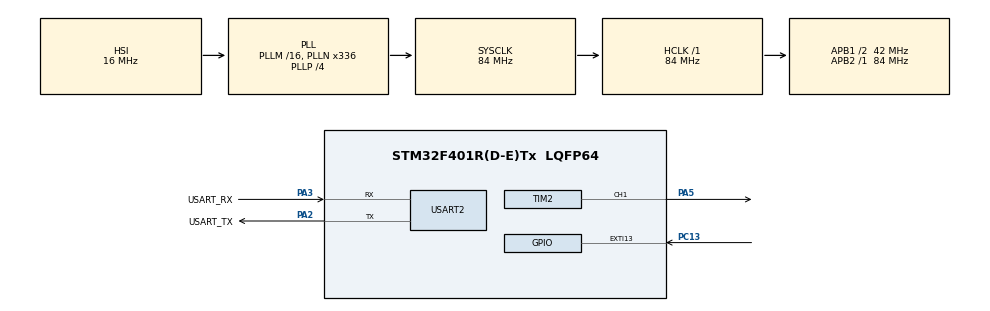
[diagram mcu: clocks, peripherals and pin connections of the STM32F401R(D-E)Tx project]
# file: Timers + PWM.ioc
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Mcu.Family=STM32F4
Mcu.Name=STM32F401R(D-E)Tx
Mcu.Package=LQFP64
NVIC.EXTI15_10_IRQn=true\:0\:0\:false\:false\:true\:true\:true\:true
NVIC.PriorityGroup=NVIC_PRIORITYGROUP_4
NVIC.USART2_IRQn=true\:0\:0\:false\:false\:true\:true\:true\:true
PA13.GPIO_Label=TMS
PA13.Mode=Trace_Asynchronous_SW
PA13.Signal=SYS_JTMS-SWDIO
PA14.GPIO_Label=TCK
PA14.Mode=Trace_Asynchronous_SW
PA14.Signal=SYS_JTCK-SWCLK
PA2.GPIO_Label=USART_TX
PA2.GPIO_Mode=GPIO_MODE_AF_PP
PA2.GPIO_PuPd=GPIO_NOPULL
PA2.GPIO_Speed=GPIO_SPEED_FREQ_LOW
PA2.Mode=Asynchronous
PA2.Signal=USART2_TX
PA3.GPIO_Label=USART_RX
PA3.GPIO_Mode=GPIO_MODE_AF_PP
PA3.GPIO_PuPd=GPIO_NOPULL
PA3.GPIO_Speed=GPIO_SPEED_FREQ_LOW
PA3.Mode=Asynchronous
PA3.Signal=USART2_RX
PA5.Signal=S_TIM2_CH1_ETR
PB3.GPIO_Label=SWO
PB3.Mode=Trace_Asynchronous_SW
PB3.Signal=SYS_JTDO-SWO
PC13-ANTI_TAMP.GPIO_ModeDefaultEXTI=GPIO_MODE_IT_FALLING
PC13-ANTI_TAMP.Signal=GPXTI13
PC14-OSC32_IN.Mode=LSE-External-Oscillator
PC14-OSC32_IN.Signal=RCC_OSC32_IN
PC15-OSC32_OUT.Mode=LSE-External-Oscillator
PC15-OSC32_OUT.Signal=RCC_OSC32_OUT
PH0\ -\ OSC_IN.Mode=HSE-External-Clock-Source
PH0\ -\ OSC_IN.Signal=RCC_OSC_IN
PH1\ -\ OSC_OUT.Mode=HSE-External-Clock-Source
PH1\ -\ OSC_OUT.Signal=RCC_OSC_OUT
ProjectManager.HeapSize=0x200
ProjectManager.StackSize=0x400
ProjectManager.TargetToolchain=STM32CubeIDE
RCC.48MHZClocksFreq_Value=48000000
RCC.AHBFreq_Value=84000000
RCC.APB1CLKDivider=RCC_HCLK_DIV2
RCC.APB1Freq_Value=42000000
RCC.APB1TimFreq_Value=84000000
RCC.APB2Freq_Value=84000000
RCC.APB2TimFreq_Value=84000000
RCC.CortexFreq_Value=84000000
RCC.HCLKFreq_Value=84000000
RCC.HSE_VALUE=8000000
RCC.HSI_VALUE=16000000
RCC.PLLN=336
RCC.PLLP=RCC_PLLP_DIV4
RCC.PLLQ=7
RCC.SYSCLKFreq_VALUE=84000000
RCC.SYSCLKSource=RCC_SYSCLKSOURCE_PLLCLK
RCC.VCOOutputFreq_Value=336000000
SH.S_TIM2_CH1_ETR.0=TIM2_CH1,PWM Generation1 CH1
TIM2.Channel-PWM\ Generation1\ CH1=TIM_CHANNEL_1
TIM2.Period=999
TIM2.Prescaler=83
TIM2.Pulse-PWM\ Generation1\ CH1=500
USART2.VirtualMode=VM_ASYNC
VP_TIM2_VS_ClockSourceINT.Mode=Internal
board=NUCLEO-F401RE

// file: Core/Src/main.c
/* USER CODE BEGIN Header */
/**
  ******************************************************************************
  * @file           : main.c
  * @brief          : Main program body
  ******************************************************************************
  * @attention
  *
  * Copyright (c) 2026 STMicroelectronics.
  * All rights reserved.
  *
  * This software is licensed under terms that can be found in the LICENSE file
  * in the root directory of this software component.
  * If no LICENSE file comes with this software, it is provided AS-IS.
  *
  ******************************************************************************
  */
/* USER CODE END Header */
#include "main.h"

/* USER CODE BEGIN Includes */
#include <stdio.h>
#include <string.h>
#include <stdlib.h>
/* USER CODE END Includes */

/* USER CODE BEGIN PTD */
typedef enum {
    LED_OFF,
    LED_ON,
    LED_MANUAL,   // exact duty set via DUTY <value>
    LED_BLINK,    // period controlled by led_timer.period_ms
    LED_FADE
} LedMode;

volatile LedMode led_mode = LED_OFF;
volatile uint16_t manual_duty = 0;   // used only when led_mode == LED_MANUAL
// Non-blocking timer pattern — the most important pattern in bare-metal embedded
typedef struct {
    uint32_t last_tick;
    uint32_t period_ms;
    uint8_t  enabled;
} SoftTimer;

// Check if timer has expired — non-blocking
uint8_t timer_expired(SoftTimer *t) {
    if (!t->enabled) return 0;
    if ((HAL_GetTick() - t->last_tick) >= t->period_ms) {
        t->last_tick = HAL_GetTick();
        return 1;
    }
    return 0;
}
/* USER CODE END PTD */

TIM_HandleTypeDef htim2;

UART_HandleTypeDef huart2;

/* USER CODE BEGIN PV */
/* Global variables */
uint8_t rx_byte;
char rx_buffer[64];
uint8_t rx_index = 0;
volatile uint8_t cmd_ready = 0;
volatile uint8_t button_flag = 0;
volatile uint32_t button_press_count = 0;
volatile uint32_t last_button_time = 0;
volatile uint8_t led_state = 0;
uint16_t duty = 0;
int8_t   direction = 1;      // 1 = increasing, -1 = decreasing
uint8_t  fade_enabled = 1;
volatile uint8_t auto_status_enabled = 1;   // on by default, matches current behavior

/* Software timers — global so process_command() can access them */
SoftTimer led_timer     = {0, 500,  1};
SoftTimer status_timer  = {0, 3000, 1};
SoftTimer counter_timer = {0, 1000, 1};
SoftTimer fade_timer = {0, 10, 1};  // update every 10ms
/* USER CODE END PV */

void SystemClock_Config(void);
static void MX_GPIO_Init(void);
static void MX_TIM2_Init(void);
static void MX_USART2_UART_Init(void);

/* USER CODE BEGIN 0 */
//UART Receive Callback
void HAL_UART_RxCpltCallback(UART_HandleTypeDef *huart)
{
    if (huart->Instance == USART2)
    {
        uint8_t received = rx_byte;

        // Re-arm FIRST
        HAL_UART_Receive_IT(&huart2, &rx_byte, 1);

        // NO unconditional echo here anymore

        if (received == '\r')
        {
            rx_buffer[rx_index] = '\0';

            if (rx_index > 0)
            {
                cmd_ready = 1;
            }

            rx_index = 0;

            // Move to new line
            while (!(USART2->SR & USART_SR_TXE));
            USART2->DR = '\r';
            while (!(USART2->SR & USART_SR_TXE));
            USART2->DR = '\n';
        }
        else if (received == '\n')
        {
            // Ignore
        }
        else if (received == '\b' || received == 0x7F)
        {
            if (rx_index > 0)
            {
                rx_index--;
                rx_buffer[rx_index] = '\0';

                // Erase on terminal — no echo of \b or 0x7F itself
                while (!(USART2->SR & USART_SR_TXE));
                USART2->DR = '\b';
                while (!(USART2->SR & USART_SR_TXE));
                USART2->DR = ' ';
                while (!(USART2->SR & USART_SR_TXE));
                USART2->DR = '\b';
            }
            // If rx_index == 0, do nothing — already at start of line
        }
        else if (received >= 0x20 && received <= 0x7E)
        {
            // Only echo printable ASCII characters
            while (!(USART2->SR & USART_SR_TXE));
            USART2->DR = received;

            if (rx_index < sizeof(rx_buffer) - 1)
            {
                rx_buffer[rx_index++] = received;
            }
            else
            {
                // Buffer full
                while (!(USART2->SR & USART_SR_TXE));
                USART2->DR = '\a';
            }
        }
        // All other control characters are silently ignored
    }
}
void process_command(char *cmd)
{
	printf("\r\n");  // newline after echoed command
	if (strcmp(cmd, "help") == 0) {
	    printf("Commands:\r\n");
	    printf("  led on / led off     		 - digital on/off\r\n");
	    printf("  fade on / fade off   		 - breathing fade effect\r\n");
	    printf("  duty <0-1000>        		 - set exact duty cycle\r\n");
	    printf("  duty max / duty off  		 - full brightness / off\r\n");
	    printf("  status               		 - system info\r\n");
	    printf("  fast / slow / stop / start - blink control\r\n");
	    printf("  speed <1-100>        		 - Fade speed\r\n");
	    printf("  status quite    	   		 - Stop periodic uptime display\r\n");
	    printf("  status verbose       		 - Resume periodic uptime display\r\n");
	    printf("  REGS                       - Print live TIM2 register values\r\n");
	}
    else if (strcmp(cmd, "status") == 0)
    {
        uint32_t ccr = __HAL_TIM_GET_COMPARE(&htim2, TIM_CHANNEL_1);
        uint32_t duty_percent = (ccr * 100) / 1000;

        printf("=== SYSTEM STATUS ===\r\n");
        printf("Uptime:        %lu ms\r\n", HAL_GetTick());
        printf("LED Duty:      %lu/1000 (%lu%%)\r\n", ccr, duty_percent);
        printf("LED State:     %s\r\n", ccr > 0 ? "ON" : "OFF");
        printf("Fade:          %s\r\n", (led_mode == LED_FADE) ? "ON" : "OFF");
        printf("Button Count:  %lu\r\n", button_press_count);
        printf("====================\r\n");
    }
    else if (strcmp(cmd, "led on") == 0) {
        led_mode = LED_ON;
        printf("LED ON (full brightness)\r\n");
    }
    else if (strcmp(cmd, "led off") == 0) {
        led_mode = LED_OFF;
        printf("LED is OFF\r\n");
    }
    else if (strcmp(cmd, "fade on") == 0) {
        led_mode = LED_FADE;
        duty = 0;
        direction = 1;
        printf("LED FADE: ON\r\n");
    }
    else if (strcmp(cmd, "fade off") == 0) {
        led_mode = LED_OFF;
        printf("LED FADE: OFF\r\n");
    }
    else if (strcmp(cmd, "fast") == 0) {
        led_mode = LED_BLINK;
        led_timer.period_ms = 100;
        printf("LED blink: FAST (100ms)\r\n");
    }
    else if (strcmp(cmd, "slow") == 0) {
        led_mode = LED_BLINK;
        led_timer.period_ms = 1000;
        printf("LED blink: SLOW (1000ms)\r\n");
    }
    else if (strcmp(cmd, "stop") == 0) {
        led_mode = LED_OFF;
        printf("LED blink: STOPPED\r\n");
    }
    else if (strcmp(cmd, "start") == 0) {
        led_mode = LED_BLINK;
        led_timer.period_ms = 500;
        printf("LED blink: STARTED (500ms)\r\n");
    }
    else if (strcmp(cmd, "duty max") == 0) {
        led_mode = LED_MANUAL;
        manual_duty = 1000;
        printf("Duty set to MAX (1000)\r\n");
    }
    else if (strcmp(cmd, "duty off") == 0) {
        led_mode = LED_MANUAL;
        manual_duty = 0;
        printf("Duty set to 0\r\n");
    }
    else if (strncmp(cmd, "duty duty", 5) == 0) {
        int value = atoi(cmd + 5);
        if (value < 0)    value = 0;
        if (value > 1000) value = 1000;
        led_mode = LED_MANUAL;
        manual_duty = (uint16_t)value;
        printf("Duty set to %d\r\n", value);
    }
    else if (strncmp(cmd, "speed ", 6) == 0) {
        // "SPEED 5"  = very fast fade (5ms steps)
        // "SPEED 20" = slow fade (20ms steps)
        int val = atoi(cmd + 6);
        if (val >= 1 && val <= 100) {
            fade_timer.period_ms = val;
            printf("Fade speed: %dms per step\r\n", val);
        } else {
            printf("Error: SPEED must be 1-100\r\n");
        }
    }
    else if (strcmp(cmd, "status quite") == 0) {
        auto_status_enabled = 0;
        printf("Auto-status: OFF\r\n");
    }
    else if (strcmp(cmd, "status verbose") == 0) {
        auto_status_enabled = 1;
        printf("Auto-status: ON\r\n");
    }
    else if (strcmp(cmd, "REGS") == 0) {
        printf("=== TIM2 Registers ===\r\n");
        printf("PSC  (Prescaler):      %lu\r\n", TIM2->PSC);
        printf("ARR  (Auto-reload):    %lu\r\n", TIM2->ARR);
        printf("CCR1 (Compare ch1):    %lu\r\n", TIM2->CCR1);
        printf("CNT  (Current count):  %lu\r\n", TIM2->CNT);
        printf("CR1  (Control):        0x%04lX\r\n", TIM2->CR1);
        printf("=====================\r\n");
    }
    else if (strcmp(cmd, "version") == 0)
    {
        printf("UART CLI Demo v1.0\r\n");
    }
    else
    {
        printf("Unknown Command\r\n");
        printf("Type 'help' for available commands\r\n");
    }

    printf("> ");  // prompt for next command

}
/* USER CODE END 0 */

int main(void)
{

  /* MCU Configuration--------------------------------------------------------*/

  /* Reset of all peripherals, Initializes the Flash interface and the Systick. */
  HAL_Init();

  /* Configure the system clock */
  SystemClock_Config();

  /* Initialize all configured peripherals */
  MX_GPIO_Init();
  MX_TIM2_Init();
  MX_USART2_UART_Init();
  /* USER CODE BEGIN 2 */
  // Start PWM on TIM2 Channel 1
  HAL_TIM_PWM_Start(&htim2, TIM_CHANNEL_1);
	// Arm the UART receive interrupt — receive 1 byte into rx_byte

	HAL_UART_Receive_IT(&huart2, &rx_byte, 1);
	uint32_t counter = 0;
	setvbuf(stdout, NULL, _IONBF, 0);
	printf("\r\n");
	printf("STM32 UART Command Line Interface\r\n");
	printf("Type 'help' for commands.\r\n");
	printf("\r\n ");
	printf("> ");  // initial prompt

  /* USER CODE END 2 */

  /* Infinite loop */
  while (1)
  {

    /* USER CODE BEGIN 3 */
		if (cmd_ready) {
			process_command(rx_buffer);
			cmd_ready = 0;
			rx_index = 0;
		}
        // Only print auto-status if user is NOT mid-command
		if (timer_expired(&status_timer)) {
		    if (auto_status_enabled && rx_index == 0) {
		        printf("\r\n[AUTO] Uptime: %lus\r\n> ", HAL_GetTick()/1000);
		    }
		}
        // Increment counter every second
        if (timer_expired(&counter_timer)) {
            counter++;
        }
        switch (led_mode)
        {
            case LED_OFF:
                __HAL_TIM_SET_COMPARE(&htim2, TIM_CHANNEL_1, 0);
                break;

            case LED_ON:
                __HAL_TIM_SET_COMPARE(&htim2, TIM_CHANNEL_1, 1000);
                break;

            case LED_MANUAL:
                __HAL_TIM_SET_COMPARE(&htim2, TIM_CHANNEL_1, manual_duty);
                break;

            case LED_BLINK:
                if (timer_expired(&led_timer)) {
                    static uint8_t on = 0;
                    on = !on;
                    __HAL_TIM_SET_COMPARE(&htim2, TIM_CHANNEL_1, on ? 1000 : 0);
                }
                break;

            case LED_FADE:
                if (timer_expired(&fade_timer)) {
                    duty += direction * 10;
                    if (duty >= 1000) { duty = 1000; direction = -1; }
                    if (duty <= 0)    { duty = 0;    direction = 1;  }
                    __HAL_TIM_SET_COMPARE(&htim2, TIM_CHANNEL_1, duty);
                }
                break;
        }
  }
  /* USER CODE END 3 */
}

void SystemClock_Config(void)
{
  RCC_OscInitTypeDef RCC_OscInitStruct = {0};
  RCC_ClkInitTypeDef RCC_ClkInitStruct = {0};

  /** Configure the main internal regulator output voltage
  */
  __HAL_RCC_PWR_CLK_ENABLE();
  __HAL_PWR_VOLTAGESCALING_CONFIG(PWR_REGULATOR_VOLTAGE_SCALE2);

  /** Initializes the RCC Oscillators according to the specified parameters
  * in the RCC_OscInitTypeDef structure.
  */
  RCC_OscInitStruct.OscillatorType = RCC_OSCILLATORTYPE_HSI;
  RCC_OscInitStruct.HSIState = RCC_HSI_ON;
  RCC_OscInitStruct.HSICalibrationValue = RCC_HSICALIBRATION_DEFAULT;
  RCC_OscInitStruct.PLL.PLLState = RCC_PLL_ON;
  RCC_OscInitStruct.PLL.PLLSource = RCC_PLLSOURCE_HSI;
  RCC_OscInitStruct.PLL.PLLM = 16;
  RCC_OscInitStruct.PLL.PLLN = 336;
  RCC_OscInitStruct.PLL.PLLP = RCC_PLLP_DIV4;
  RCC_OscInitStruct.PLL.PLLQ = 7;
  if (HAL_RCC_OscConfig(&RCC_OscInitStruct) != HAL_OK)
  {
    Error_Handler();
  }

  /** Initializes the CPU, AHB and APB buses clocks
  */
  RCC_ClkInitStruct.ClockType = RCC_CLOCKTYPE_HCLK|RCC_CLOCKTYPE_SYSCLK
                              |RCC_CLOCKTYPE_PCLK1|RCC_CLOCKTYPE_PCLK2;
  RCC_ClkInitStruct.SYSCLKSource = RCC_SYSCLKSOURCE_PLLCLK;
  RCC_ClkInitStruct.AHBCLKDivider = RCC_SYSCLK_DIV1;
  RCC_ClkInitStruct.APB1CLKDivider = RCC_HCLK_DIV2;
  RCC_ClkInitStruct.APB2CLKDivider = RCC_HCLK_DIV1;

  if (HAL_RCC_ClockConfig(&RCC_ClkInitStruct, FLASH_LATENCY_2) != HAL_OK)
  {
    Error_Handler();
  }
}

static void MX_TIM2_Init(void)
{

  TIM_ClockConfigTypeDef sClockSourceConfig = {0};
  TIM_MasterConfigTypeDef sMasterConfig = {0};
  TIM_OC_InitTypeDef sConfigOC = {0};

  htim2.Instance = TIM2;
  htim2.Init.Prescaler = 83;
  htim2.Init.CounterMode = TIM_COUNTERMODE_UP;
  htim2.Init.Period = 999;
  htim2.Init.ClockDivision = TIM_CLOCKDIVISION_DIV1;
  htim2.Init.AutoReloadPreload = TIM_AUTORELOAD_PRELOAD_DISABLE;
  if (HAL_TIM_Base_Init(&htim2) != HAL_OK)
  {
    Error_Handler();
  }
  sClockSourceConfig.ClockSource = TIM_CLOCKSOURCE_INTERNAL;
  if (HAL_TIM_ConfigClockSource(&htim2, &sClockSourceConfig) != HAL_OK)
  {
    Error_Handler();
  }
  if (HAL_TIM_PWM_Init(&htim2) != HAL_OK)
  {
    Error_Handler();
  }
  sMasterConfig.MasterOutputTrigger = TIM_TRGO_RESET;
  sMasterConfig.MasterSlaveMode = TIM_MASTERSLAVEMODE_DISABLE;
  if (HAL_TIMEx_MasterConfigSynchronization(&htim2, &sMasterConfig) != HAL_OK)
  {
    Error_Handler();
  }
  sConfigOC.OCMode = TIM_OCMODE_PWM1;
  sConfigOC.Pulse = 500;
  sConfigOC.OCPolarity = TIM_OCPOLARITY_HIGH;
  sConfigOC.OCFastMode = TIM_OCFAST_DISABLE;
  if (HAL_TIM_PWM_ConfigChannel(&htim2, &sConfigOC, TIM_CHANNEL_1) != HAL_OK)
  {
    Error_Handler();
  }
  HAL_TIM_MspPostInit(&htim2);

}

static void MX_USART2_UART_Init(void)
{

  huart2.Instance = USART2;
  huart2.Init.BaudRate = 115200;
  huart2.Init.WordLength = UART_WORDLENGTH_8B;
  huart2.Init.StopBits = UART_STOPBITS_1;
  huart2.Init.Parity = UART_PARITY_NONE;
  huart2.Init.Mode = UART_MODE_TX_RX;
  huart2.Init.HwFlowCtl = UART_HWCONTROL_NONE;
  huart2.Init.OverSampling = UART_OVERSAMPLING_16;
  if (HAL_UART_Init(&huart2) != HAL_OK)
  {
    Error_Handler();
  }

}

static void MX_GPIO_Init(void)
{
  GPIO_InitTypeDef GPIO_InitStruct = {0};

  /* GPIO Ports Clock Enable */
  __HAL_RCC_GPIOC_CLK_ENABLE();
  __HAL_RCC_GPIOH_CLK_ENABLE();
  __HAL_RCC_GPIOA_CLK_ENABLE();
  __HAL_RCC_GPIOB_CLK_ENABLE();

  /*Configure GPIO pin : PC13 */
  GPIO_InitStruct.Pin = GPIO_PIN_13;
  GPIO_InitStruct.Mode = GPIO_MODE_IT_FALLING;
  GPIO_InitStruct.Pull = GPIO_NOPULL;
  HAL_GPIO_Init(GPIOC, &GPIO_InitStruct);

  /* EXTI interrupt init*/
  HAL_NVIC_SetPriority(EXTI15_10_IRQn, 0, 0);
  HAL_NVIC_EnableIRQ(EXTI15_10_IRQn);

}

/* USER CODE BEGIN 4 */
int __io_putchar(int ch) {
	HAL_UART_Transmit(&huart2, (uint8_t*) &ch, 1, HAL_MAX_DELAY);
	return ch;
}
void HAL_GPIO_EXTI_Callback(uint16_t GPIO_Pin)
{
    if (GPIO_Pin == GPIO_PIN_13)
    {
        uint32_t now = HAL_GetTick();
        if (now - last_button_time > 50)   // debounce window
        {
            button_press_count++;
            last_button_time = now;
        }
    }
}
/* USER CODE END 4 */

void Error_Handler(void)
{
  __disable_irq();
  while (1)
  {
  }
}
